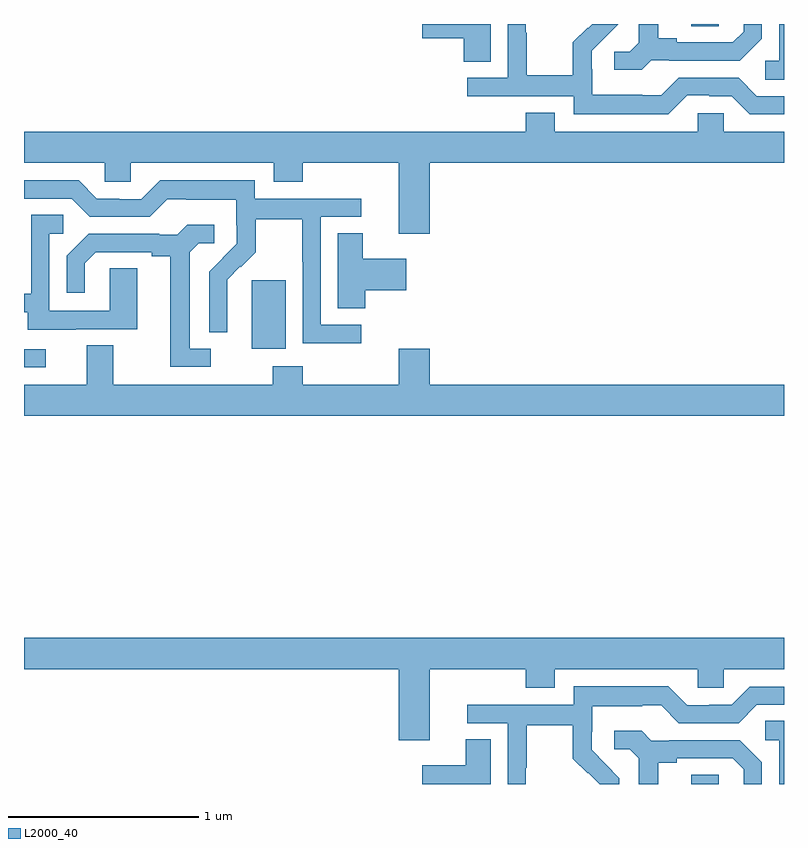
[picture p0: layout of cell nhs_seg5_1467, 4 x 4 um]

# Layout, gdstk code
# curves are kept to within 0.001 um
import gdstk
lib = gdstk.Library(unit=1e-6, precision=1e-09)
def R(c, l, rs):  # rectangles x0, y0, x1, y1
    for r in rs: c.add(gdstk.rectangle(r[:2], r[2:], *l))
def P(c, l, *ps):  # polygons
    for p in ps: c.add(gdstk.Polygon(p, *l))
L2000_40 = (2000, 40)

nhs_seg5_1467 = lib.new_cell('nhs_seg5_1467')
R(nhs_seg5_1467, L2000_40, [(202.511,878.799,202.656,878.849), (199,880.992,199.114,881.088), (200.198,881.09,200.377,881.451), (202.511,882.787,202.656,882.799)])
P(nhs_seg5_1467, L2000_40, [(203,882.799),(202.974,882.799),(202.974,882.606),(202.902,882.606),(202.902,882.505),(203,882.505)],
  [(202.302,882.609),(202.396,882.609),(202.396,882.606),(202.768,882.606),(202.884,882.722),(202.884,882.799),(202.787,882.799),(202.787,882.759),(202.73,882.702),(202.435,882.702),(202.435,882.725),(202.339,882.725),(202.339,882.799),(202.235,882.799),(202.235,882.701),(202.188,882.654),(202.107,882.654),(202.107,882.557),(202.25,882.557)],
  [(202.491,882.423),(202.607,882.423),(202.607,882.42),(202.725,882.42),(202.821,882.324),(203,882.324),(203,882.42),(202.857,882.42),(202.761,882.516),(202.446,882.516),(202.353,882.423),(202.253,882.423),(202.253,882.427),(201.99,882.427),(201.99,882.561),(201.988,882.561),(201.988,882.658),(202.127,882.799),(201.991,882.799),(201.969,882.777),(201.966,882.78),(201.889,882.703),(201.889,882.529),(201.645,882.529),(201.645,882.752),(201.642,882.752),(201.642,882.799),(201.546,882.799),(201.546,882.516),(201.333,882.516),(201.333,882.42),(201.894,882.42),(201.894,882.323),(202.391,882.323)],
  [(201.457,882.799),(201.096,882.799),(201.096,882.725),(201.314,882.725),(201.314,882.601),(201.457,882.601)],
  [(201.136,882.068),(203,882.068),(203,882.232),(202.683,882.232),(202.683,882.33),(202.545,882.33),(202.545,882.232),(201.793,882.232),(201.793,882.331),(201.641,882.331),(201.641,882.232),(199,882.232),(199,882.068),(199.425,882.068),(199.425,881.97),(199.563,881.97),(199.563,882.068),(200.315,882.068),(200.315,881.969),(200.468,881.969),(200.468,882.068),(200.972,882.068),(200.972,881.694),(201.136,881.694)],
  [(200.776,881.217),(200.562,881.217),(200.562,881.784),(200.776,881.784),(200.776,881.88),(200.214,881.88),(200.214,881.977),(199.717,881.977),(199.617,881.877),(199.502,881.877),(199.502,881.88),(199.383,881.88),(199.287,881.976),(199,881.976),(199,881.88),(199.251,881.88),(199.347,881.784),(199.662,881.784),(199.755,881.877),(199.855,881.877),(199.855,881.873),(200.118,881.873),(200.118,881.739),(200.12,881.739),(200.12,881.642),(199.974,881.494),(199.974,881.176),(200.07,881.176),(200.069,881.453),(200.139,881.523),(200.142,881.52),(200.219,881.597),(200.219,881.772),(200.464,881.772),(200.464,881.548),(200.466,881.548),(200.466,881.119),(200.776,881.119)],
  [(199.273,881.193),(199.597,881.193),(199.597,881.513),(199.452,881.513),(199.452,881.289),(199.134,881.289),(199.134,881.694),(199.207,881.694),(199.207,881.795),(199.038,881.795),(199.038,881.379),(199,881.379),(199,881.283),(199.019,881.283),(199.019,881.189),(199.273,881.189)],
  [(199.984,881.091),(199.873,881.091),(199.873,881.599),(199.92,881.646),(200.002,881.646),(200.002,881.743),(199.858,881.743),(199.806,881.691),(199.712,881.691),(199.712,881.694),(199.34,881.694),(199.224,881.578),(199.224,881.385),(199.321,881.385),(199.321,881.541),(199.378,881.598),(199.673,881.598),(199.673,881.576),(199.769,881.576),(199.769,880.995),(199.984,880.995)],
  [(200.795,881.398),(201.013,881.398),(201.013,881.563),(200.782,881.563),(200.782,881.699),(200.651,881.699),(200.651,881.302),(200.795,881.302)],
  [(203,880.9),(201.136,880.9),(201.136,881.089),(200.972,881.089),(200.972,880.9),(200.468,880.9),(200.468,880.999),(200.308,880.999),(200.308,880.9),(199.471,880.9),(199.471,881.108),(199.331,881.108),(199.331,880.9),(199,880.9),(199,880.736),(203,880.736)],
  [(201.136,879.404),(201.641,879.404),(201.641,879.305),(201.793,879.305),(201.793,879.404),(202.545,879.404),(202.545,879.306),(202.683,879.306),(202.683,879.404),(203,879.404),(203,879.568),(199,879.568),(199,879.404),(200.972,879.404),(200.972,879.03),(201.136,879.03)],
  [(201.642,878.884),(201.645,878.884),(201.645,879.108),(201.889,879.108),(201.889,878.933),(201.966,878.856),(201.969,878.859),(202.03,878.799),(202.134,878.799),(202.134,878.83),(201.988,878.978),(201.988,879.075),(201.99,879.075),(201.99,879.209),(202.253,879.209),(202.253,879.213),(202.353,879.213),(202.446,879.12),(202.761,879.12),(202.857,879.216),(203,879.216),(203,879.312),(202.821,879.312),(202.725,879.216),(202.607,879.216),(202.607,879.213),(202.491,879.213),(202.391,879.313),(201.894,879.313),(201.894,879.216),(201.333,879.216),(201.333,879.12),(201.546,879.12),(201.546,878.799),(201.642,878.799)],
  [(203,879.131),(202.902,879.131),(202.902,879.03),(202.974,879.03),(202.974,878.799),(203,878.799)],
  [(202.339,878.912),(202.435,878.912),(202.435,878.934),(202.73,878.934),(202.787,878.877),(202.787,878.799),(202.884,878.799),(202.884,878.914),(202.768,879.03),(202.396,879.03),(202.396,879.027),(202.302,879.027),(202.25,879.079),(202.107,879.079),(202.107,878.982),(202.188,878.982),(202.235,878.935),(202.235,878.799),(202.339,878.799)],
  [(201.457,879.035),(201.326,879.035),(201.326,878.899),(201.096,878.899),(201.096,878.799),(201.457,878.799)])

lib.write_gds('nhs_seg5_1467.gds')
